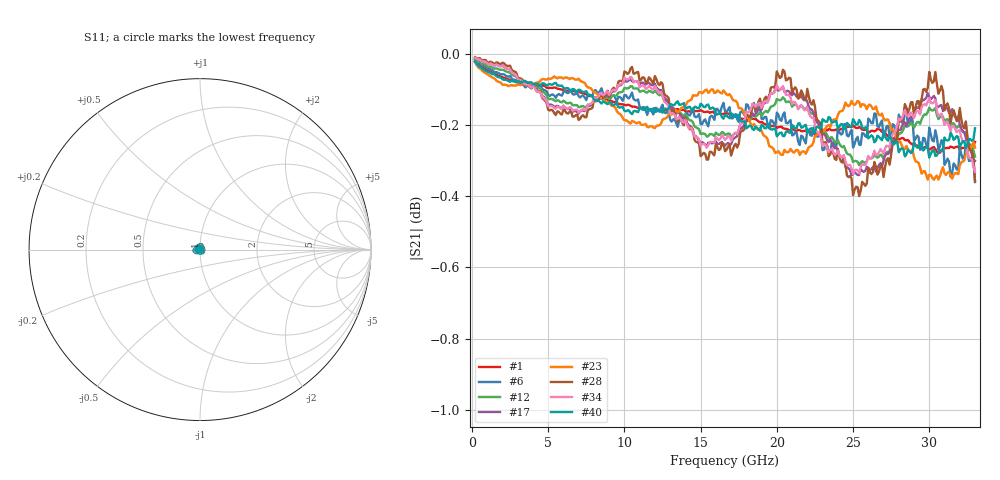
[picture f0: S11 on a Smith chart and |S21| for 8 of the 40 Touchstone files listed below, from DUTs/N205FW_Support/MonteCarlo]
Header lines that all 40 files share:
# GHZ S RI R 50
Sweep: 200 MHz to 33 GHz
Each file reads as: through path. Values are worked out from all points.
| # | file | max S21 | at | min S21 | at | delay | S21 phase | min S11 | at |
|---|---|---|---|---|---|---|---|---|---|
| 1 | N205FW_2.s2p | -0.02 dB | 200 MHz | -0.3 dB | 30.6 GHz | 248 ps | -42 deg at 16.6 GHz | -68.4 dB | 200 MHz |
| 2 | N205FW_3.s2p | -0.03 dB | 200 MHz | -0.4 dB | 29.9 GHz | 248 ps | -42 deg at 16.6 GHz | -67.9 dB | 200 MHz |
| 3 | N205FW_5.s2p | -0.03 dB | 200 MHz | -0.4 dB | 30.4 GHz | 248 ps | -42 deg at 16.6 GHz | -67.7 dB | 200 MHz |
| 4 | N205FW_6.s2p | -0.02 dB | 200 MHz | -0.3 dB | 33 GHz | 248 ps | -42 deg at 16.6 GHz | -73.3 dB | 200 MHz |
| 5 | N205FW_7.s2p | -0.01 dB | 200 MHz | -0.4 dB | 33 GHz | 248 ps | -42 deg at 16.6 GHz | -78.9 dB | 200 MHz |
| 6 | N205FW_8.s2p | -0.02 dB | 200 MHz | -0.4 dB | 33 GHz | 248 ps | -42 deg at 16.6 GHz | -77.0 dB | 200 MHz |
| 7 | N205FW_10.s2p | 0.08 dB | 30.4 GHz | -0.5 dB | 25.4 GHz | 248 ps | -42 deg at 16.6 GHz | -69.7 dB | 3.4 GHz |
| 8 | N205FW_11.s2p | -0.02 dB | 200 MHz | -0.3 dB | 30.6 GHz | 248 ps | -42 deg at 16.6 GHz | -71.0 dB | 200 MHz |
| 9 | N205FW_12.s2p | -0.02 dB | 200 MHz | -0.4 dB | 31.5 GHz | 248 ps | -42 deg at 16.6 GHz | -75.1 dB | 31.5 GHz |
| 10 | N205FW_13.s2p | -0.02 dB | 200 MHz | -0.4 dB | 29.9 GHz | 248 ps | -42 deg at 16.6 GHz | -69.6 dB | 200 MHz |
| 11 | N205FW_14.s2p | -0.02 dB | 200 MHz | -0.3 dB | 30.6 GHz | 248 ps | -42 deg at 16.6 GHz | -72.2 dB | 18.3 GHz |
| 12 | N205FW_18.s2p | -0.01 dB | 200 MHz | -0.3 dB | 25.4 GHz | 248 ps | -42 deg at 16.6 GHz | -72.6 dB | 200 MHz |
| 13 | N205FW_19.s2p | -0.02 dB | 200 MHz | -0.4 dB | 30.4 GHz | 248 ps | -42 deg at 16.6 GHz | -66.8 dB | 200 MHz |
| 14 | N205FW_20.s2p | -0.03 dB | 200 MHz | -0.3 dB | 30 GHz | 248 ps | -42 deg at 16.6 GHz | -76.1 dB | 3.2 GHz |
| 15 | N205FW_22.s2p | -0.02 dB | 200 MHz | -0.3 dB | 30.6 GHz | 248 ps | -42 deg at 16.6 GHz | -72.4 dB | 18.3 GHz |
| 16 | N205FW_23.s2p | -0.02 dB | 200 MHz | -0.3 dB | 30.5 GHz | 248 ps | -42 deg at 16.6 GHz | -70.3 dB | 200 MHz |
| 17 | N205FW_25.s2p | -0.01 dB | 200 MHz | -0.3 dB | 24.9 GHz | 248 ps | -42 deg at 16.6 GHz | -72.6 dB | 200 MHz |
| 18 | N205FW_26.s2p | -0.02 dB | 200 MHz | -0.3 dB | 30.5 GHz | 248 ps | -42 deg at 16.6 GHz | -69.6 dB | 200 MHz |
| 19 | N205FW_27.s2p | 0.03 dB | 30.4 GHz | -0.5 dB | 25.4 GHz | 248 ps | -42 deg at 16.6 GHz | -64.5 dB | 600 MHz |
| 20 | N205FW_28.s2p | -0.02 dB | 200 MHz | -0.3 dB | 33 GHz | 248 ps | -42 deg at 16.6 GHz | -70.2 dB | 200 MHz |
| 21 | N205FW_31.s2p | 0.09 dB | 30 GHz | -0.5 dB | 25.4 GHz | 248 ps | -42 deg at 16.6 GHz | -65.8 dB | 3.4 GHz |
| 22 | N205FW_32.s2p | -0.02 dB | 200 MHz | -0.3 dB | 31.5 GHz | 248 ps | -42 deg at 16.6 GHz | -73.4 dB | 200 MHz |
| 23 | N205FW_33.s2p | -0.02 dB | 200 MHz | -0.4 dB | 30.3 GHz | 248 ps | -42 deg at 16.6 GHz | -69.0 dB | 200 MHz |
| 24 | N205FW_34.s2p | -0.02 dB | 200 MHz | -0.3 dB | 30.6 GHz | 248 ps | -42 deg at 16.6 GHz | -77.1 dB | 200 MHz |
| 25 | N205FW_36.s2p | -0.02 dB | 200 MHz | -0.3 dB | 31.4 GHz | 248 ps | -42 deg at 16.6 GHz | -74.5 dB | 200 MHz |
| 26 | N205FW_37.s2p | -0.02 dB | 200 MHz | -0.3 dB | 30 GHz | 248 ps | -42 deg at 16.6 GHz | -70.7 dB | 200 MHz |
| 27 | N205FW_38.s2p | -0.02 dB | 200 MHz | -0.3 dB | 29.9 GHz | 248 ps | -42 deg at 16.6 GHz | -72.0 dB | 18.3 GHz |
| 28 | N205FW_40.s2p | -0.01 dB | 200 MHz | -0.4 dB | 25.4 GHz | 248 ps | -42 deg at 16.6 GHz | -70.7 dB | 3.3 GHz |
| 29 | N205FW_41.s2p | -0.01 dB | 200 MHz | -0.4 dB | 33 GHz | 248 ps | -42 deg at 16.6 GHz | -69.5 dB | 18.3 GHz |
| 30 | N205FW_44.s2p | -0.02 dB | 200 MHz | -0.3 dB | 30 GHz | 248 ps | -42 deg at 16.6 GHz | -69.5 dB | 200 MHz |
| 31 | N205FW_46.s2p | 0.03 dB | 30.4 GHz | -0.5 dB | 25.4 GHz | 248 ps | -42 deg at 16.6 GHz | -64.6 dB | 200 MHz |
| 32 | N205FW_48.s2p | -0.02 dB | 200 MHz | -0.4 dB | 30.4 GHz | 248 ps | -42 deg at 16.6 GHz | -72.7 dB | 200 MHz |
| 33 | N205FW_52.s2p | -0.02 dB | 200 MHz | -0.3 dB | 33 GHz | 248 ps | -42 deg at 16.6 GHz | -74.3 dB | 200 MHz |
| 34 | N205FW_54.s2p | -0.01 dB | 200 MHz | -0.3 dB | 25 GHz | 248 ps | -42 deg at 16.6 GHz | -83.9 dB | 18.3 GHz |
| 35 | N205FW_55.s2p | -0.01 dB | 200 MHz | -0.3 dB | 25.4 GHz | 248 ps | -42 deg at 16.6 GHz | -70.0 dB | 200 MHz |
| 36 | N205FW_56.s2p | -0.01 dB | 200 MHz | -0.4 dB | 25.4 GHz | 248 ps | -42 deg at 16.6 GHz | -81.7 dB | 18.7 GHz |
| 37 | N205FW_57.s2p | -0.02 dB | 200 MHz | -0.4 dB | 30.4 GHz | 248 ps | -42 deg at 16.6 GHz | -66.6 dB | 200 MHz |
| 38 | N205FW_61.s2p | -0.02 dB | 200 MHz | -0.3 dB | 30 GHz | 248 ps | -42 deg at 16.6 GHz | -70.5 dB | 200 MHz |
| 39 | N205FW_63.s2p | -0.02 dB | 200 MHz | -0.4 dB | 30.4 GHz | 248 ps | -42 deg at 16.6 GHz | -67.8 dB | 200 MHz |
| 40 | N205FW_64.s2p | -0.02 dB | 200 MHz | -0.3 dB | 30 GHz | 248 ps | -42 deg at 16.6 GHz | -70.6 dB | 200 MHz |
